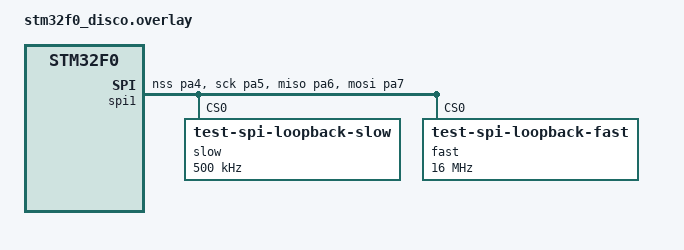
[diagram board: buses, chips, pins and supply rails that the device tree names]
/*
 * Copyright (c) 2024 Marcin Niestroj
 *
 * SPDX-License-Identifier: Apache-2.0
 */

&spi1 {
	slow@0 {
		compatible = "test-spi-loopback-slow";
		reg = <0>;
		spi-max-frequency = <500000>;
	};
	fast@0 {
		compatible = "test-spi-loopback-fast";
		reg = <0>;
		spi-max-frequency = <16000000>;
	};

	pinctrl-0 = <&spi1_nss_pa4 &spi1_sck_pa5
		     &spi1_miso_pa6 &spi1_mosi_pa7>;
	pinctrl-names = "default";
	status = "okay";
};
